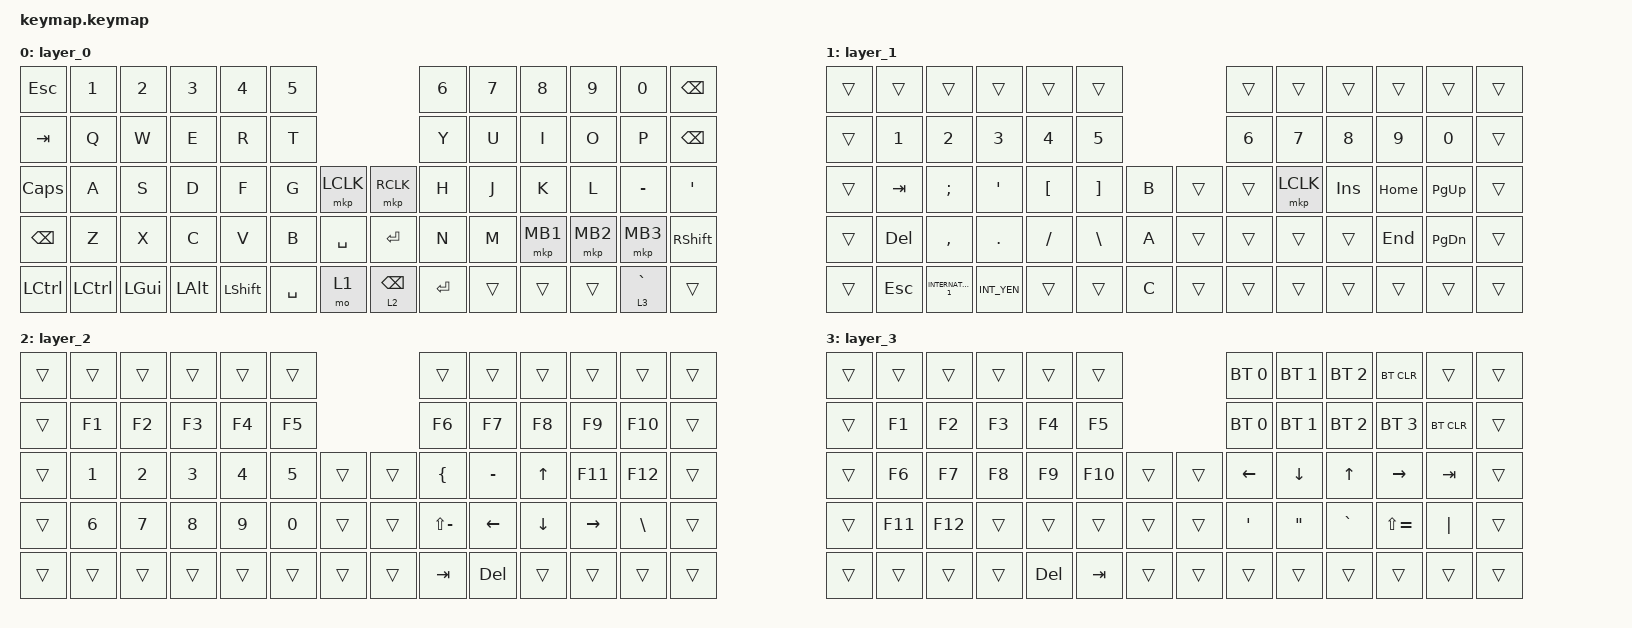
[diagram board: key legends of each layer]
#include <behaviors.dtsi>
#include <dt-bindings/zmk/bt.h>
#include <dt-bindings/zmk/keys.h>
#include <dt-bindings/zmk/pointing.h>

/*
 * バックスペースの連続削除（キーリピート）を有効にするための設定。
 *
 * 親指の &lt 2 BACKSPACE はレイヤータップで、長押しするとレイヤー2に
 * 切り替わってしまうため BSPC がリピートしない。quick-tap-ms を設定すると
 * 「一度タップした直後（200ms以内）に押し直して長押しした場合はタップ側
 * （= BSPC）を継続する」という挙動になり、連続削除ができるようになる。
 *
 * 操作方法: バックスペースを 1 回叩いてから、すぐ押しっぱなしにする。
 */

&lt { quick-tap-ms = <200>; };

/*
 * 日本語配列（JIS）で「~」を入力するための設定。
 *
 * ZMK のキーコードは US 配列基準の HID コードなので、OS 側が JIS 配列だと
 * 記号の対応がずれる。
 *   &kp TILDE  = Shift + HID 0x35（US の ` / ~ キー）
 *                → JIS では「半角/全角」キーなので何も入力されない
 *   &kp TILDE2 = Shift + HID 0x32（Non-US #）
 *                → JIS では「}」になる
 *   &kp LS(EQUAL) = Shift + HID 0x2E
 *                → JIS の「^」キー + Shift = 「~」  ← これが正解
 *
 * 同じ理由で JIS では以下も読み替えが必要:
 *   ` (バッククォート) = &kp LS(LBKT)   @ = &kp LBKT
 *   | (パイプ)         = &kp LS(INT_YEN)
 *   " (ダブルクォート) = &kp LS(N2)     ' = &kp LS(N7)
 */

/ {
    combos {
        compatible = "zmk,combos";

        bt_clear {
            bindings = <&bt BT_CLR>;
            key-positions = <28 29>;
            layers = <2>;
        };

        esc_combo {
            bindings = <&kp ESC>;
            key-positions = <52 58>;
        };
    };

    keymap {
        compatible = "zmk,keymap";

        layer_0 {
            bindings = <
&kp ESC    &kp N1     &kp N2    &kp N3    &kp N4     &kp N5                                 &kp N6     &kp N7  &kp N8    &kp N9    &kp N0       &kp BSPC
&kp TAB    &kp Q      &kp W     &kp E     &kp R      &kp T                                  &kp Y      &kp U   &kp I     &kp O     &kp P        &kp BSPC
&kp CAPS   &kp A      &kp S     &kp D     &kp F      &kp G      &mkp LCLK  &mkp RCLK        &kp H      &kp J   &kp K     &kp L     &kp MINUS    &kp SQT
&kp BSPC   &kp Z      &kp X     &kp C     &kp V      &kp B      &kp SPACE  &kp RET          &kp N      &kp M   &mkp MB1  &mkp MB2  &mkp MB3     &kp RSHFT
&kp LCTRL  &kp LCTRL  &kp LGUI  &kp LALT  &kp LSHFT  &kp SPACE  &mo 1      &lt 2 BACKSPACE  &kp ENTER  &trans  &trans    &trans    &lt 3 GRAVE  &trans
            >;
        };

        layer_1 {
            bindings = <
&trans  &trans      &trans               &trans            &trans            &trans                            &trans  &trans     &trans      &trans    &trans         &trans
&trans  &kp N1      &kp N2               &kp N3            &kp N4            &kp N5                            &kp N6  &kp N7     &kp N8      &kp N9    &kp N0         &trans
&trans  &kp TAB     &kp SEMICOLON        &kp SINGLE_QUOTE  &kp LEFT_BRACKET  &kp RIGHT_BRACKET  &kp B  &trans  &trans  &mkp LCLK  &kp INSERT  &kp HOME  &kp PAGE_UP    &trans
&trans  &kp DELETE  &kp COMMA            &kp DOT           &kp FSLH          &kp BACKSLASH      &kp A  &trans  &trans  &trans     &trans      &kp END   &kp PAGE_DOWN  &trans
&trans  &kp ESCAPE  &kp INTERNATIONAL_1  &kp INT_YEN       &trans            &trans             &kp C  &trans  &trans  &trans     &trans      &trans    &trans         &trans
            >;
        };

        layer_2 {
            bindings = <
&trans  &trans  &trans  &trans  &trans  &trans                  &trans          &trans     &trans        &trans     &trans         &trans
&trans  &kp F1  &kp F2  &kp F3  &kp F4  &kp F5                  &kp F6          &kp F7     &kp F8        &kp F9     &kp F10        &trans
&trans  &kp N1  &kp N2  &kp N3  &kp N4  &kp N5  &trans  &trans  &kp LEFT_BRACE  &kp MINUS  &kp UP_ARROW  &kp F11    &kp F12        &trans
&trans  &kp N6  &kp N7  &kp N8  &kp N9  &kp N0  &trans  &trans  &kp LS(MINUS)   &kp LEFT   &kp DOWN      &kp RIGHT  &kp BACKSLASH  &trans
&trans  &trans  &trans  &trans  &trans  &trans  &trans  &trans  &kp TAB         &kp DEL    &trans        &trans     &trans         &trans
            >;
        };

        layer_3 {
            bindings = <
&trans  &trans   &trans   &trans  &trans      &trans                   &bt BT_SEL 0      &bt BT_SEL 1  &bt BT_SEL 2  &bt BT_CLR     &trans      &trans
&trans  &kp F1   &kp F2   &kp F3  &kp F4      &kp F5                   &bt BT_SEL 0      &bt BT_SEL 1  &bt BT_SEL 2  &bt BT_SEL 3   &bt BT_CLR  &trans
&trans  &kp F6   &kp F7   &kp F8  &kp F9      &kp F10  &trans  &trans  &kp LEFT          &kp DOWN      &kp UP_ARROW  &kp RIGHT      &kp TAB     &trans
&trans  &kp F11  &kp F12  &trans  &trans      &trans   &trans  &trans  &kp SINGLE_QUOTE  &kp DQT       &kp GRAVE     &kp LS(EQUAL)  &kp PIPE    &trans
&trans  &trans   &trans   &trans  &kp DELETE  &kp TAB  &trans  &trans  &trans            &trans        &trans        &trans         &trans      &trans
            >;
        };
    };
};
